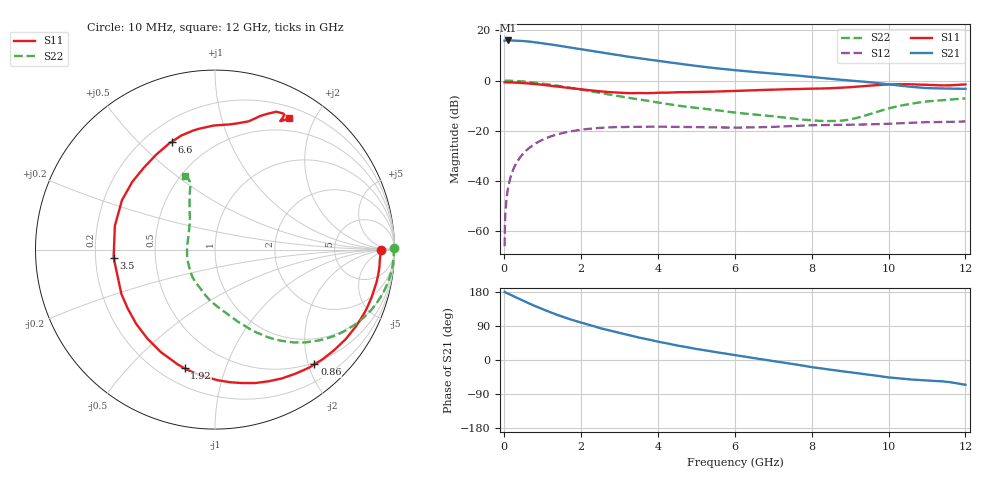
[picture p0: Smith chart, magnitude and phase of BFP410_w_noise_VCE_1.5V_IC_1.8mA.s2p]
! Infineon Technologies  Discrete & RF Semiconductors
! BFP410
! VCE =  1.5 V,  IC =  1.8 mA
! Common Emitter S-Parameters:  Nov 2015
# GHz  S  MA  R  50
!  f  S11  S21  S12  S22
! GHz  MAG  ANG  MAG  ANG  MAG  ANG  MAG  ANG
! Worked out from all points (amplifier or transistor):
!   243 points, 10 MHz to 12 GHz, reference 50 ohm
!   highest |S21| = 16.0 dB at 100 MHz (marker M1)
!   |S21| within 3 dB of that: start of sweep to 1.777 GHz
!   unconditionally stable (mu >= 1): 4.166 GHz to end of sweep
!   at 240 MHz: K = 0.04, MSG = 25.6 dB, |S12| = -35.2 dB
!   at 1.84 GHz: K = 0.37, MSG = 16.4 dB, |S12| = -20.0 dB
!   at 12 GHz: K = 1.17, MAG = 4.0 dB, |S12| = -16.3 dB
!   lowest NFmin = 0.81 dB at 900 MHz
!   S11 on the Smith chart (normalised r, x): 10 MHz: 27, +0; 860 MHz: 0.47, -2.10; 1.92 GHz: 0.30, -0.73; 3.5 GHz: 0.28, -0.04; 6.6 GHz: 0.31, +0.63; 12 GHz: 0.34, +1.66
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0.01  0.9273 0.0  6.268 179.5  0.0005 57.6  0.9986 0.6
0.02  0.9238 -0.9  6.311 179.1  0.0015 89.8  0.9936 -0.2
0.03  0.9226 -1.5  6.302 178.4  0.0023 89.2  0.9945 -0.6
0.1  0.9216 -5.8  6.322 175.3  0.0072 86.8  0.9955 -3.1
0.22  0.9164 -12.5  6.301 169.5  0.0159 82.9  0.9903 -6.9
0.44  0.8998 -25.2  6.194 159.1  0.0314 76.1  0.9699 -13.8
0.6  0.8827 -34.4  6.051 151.3  0.0422 70.9  0.9473 -18.6
0.86  0.846 -49.1  5.745 140.0  0.0585 62.8  0.9008 -26.0
1.1  0.809 -62.5  5.433 130.0  0.0718 55.7  0.8511 -32.4
1.3  0.7766 -73.2  5.145 122.1  0.0814 50.0  0.8077 -37.2
1.6  0.728 -88.8  4.724 111.3  0.0931 42.3  0.7425 -43.6
1.92  0.6827 -104.4  4.302 101.0  0.1028 35.1  0.6791 -49.6
2.02  0.6687 -109.0  4.177 98.0  0.1052 33.0  0.6604 -51.2
2.62  0.6009 -137.7  3.531 80.7  0.1158 21.4  0.5477 -60.7
3.5  0.5666 -175.4  2.803 59.3  0.1203 9.0  0.4211 -72.4
4.1  0.573 163.7  2.423 46.6  0.1206 3.0  0.3554 -80.6
5  0.5957 140.7  1.963 29.1  0.1182 -3.7  0.2862 -95.3
6.1  0.6256 120.0  1.588 11.4  0.1157 -7.6  0.2266 -112.7
6.6  0.6468 112.0  1.465 3.4  0.1173 -8.6  0.2076 -123.2
8.2  0.6951 87.1  1.144 -21.6  0.1294 -15.1  0.1575 -171.1
10.2  0.8444 64.7  0.811 -47.7  0.1402 -22.3  0.3028 117.9
12  0.8392 60.6  0.687 -65.4  0.1535 -33.4  0.4421 112.0
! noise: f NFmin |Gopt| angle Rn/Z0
0.45  0.85  0.54  8  0.31
0.9  0.81  0.52  22  0.28
1.8  1.05  0.41  56  0.24
2.4  1.11  0.38  66  0.23
5.5  2.29  0.37  -144  0.22
10  4.11  0.71  -57  2.47
